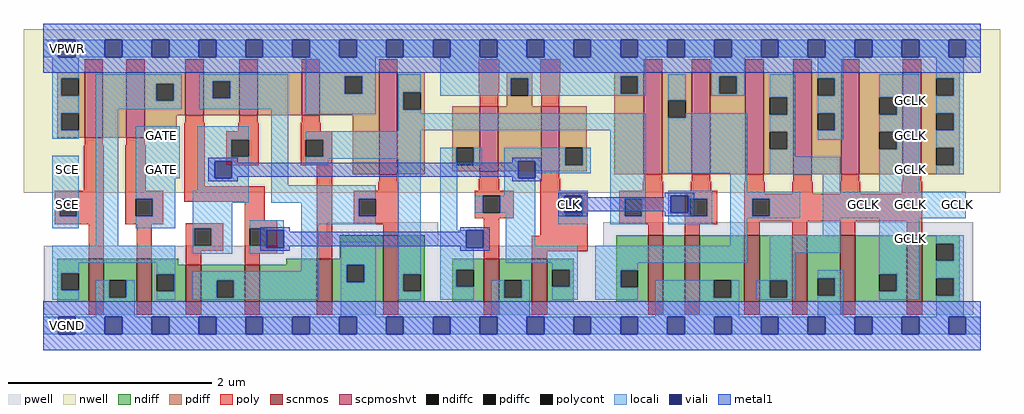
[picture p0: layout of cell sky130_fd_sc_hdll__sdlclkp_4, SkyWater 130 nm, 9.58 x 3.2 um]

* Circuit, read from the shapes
.subckt sky130_fd_sc_hdll__sdlclkp_4 CLK GATE SCE VGND VNB VPB VPWR GCLK
XM1 VGND SCE n1 VNB sky130_fd_pr__nfet_01v8 w=0.42 l=0.15
XM2 n1 GATE VGND VNB sky130_fd_pr__nfet_01v8 w=0.42 l=0.15
XM3 n2 n3 n1 VNB sky130_fd_pr__nfet_01v8 w=0.36 l=0.15
XM4 n4 n5 n2 VNB sky130_fd_pr__nfet_01v8 w=0.36 l=0.15
XM5 VGND n6 n4 VNB sky130_fd_pr__nfet_01v8 w=0.42 l=0.15
XM6 n6 n2 VGND VNB sky130_fd_pr__nfet_01v8 w=0.65 l=0.15
XM7 VGND n3 n5 VNB sky130_fd_pr__nfet_01v8 w=0.42 l=0.15
XM8 n3 CLK VGND VNB sky130_fd_pr__nfet_01v8 w=0.42 l=0.15
XM9 n7 n6 n8 VNB sky130_fd_pr__nfet_01v8 w=0.65 l=0.15
XM10 VGND CLK n7 VNB sky130_fd_pr__nfet_01v8 w=0.65 l=0.15
XM11 GCLK n8 VGND VNB sky130_fd_pr__nfet_01v8 w=0.65 l=0.15 m=4
XM12 n9 SCE VPWR VPB sky130_fd_pr__pfet_01v8_hvt w=0.64 l=0.18
XM13 n1 GATE n9 VPB sky130_fd_pr__pfet_01v8_hvt w=0.64 l=0.18
XM14 n2 n5 n1 VPB sky130_fd_pr__pfet_01v8_hvt w=0.42 l=0.18
XM15 n10 n3 n2 VPB sky130_fd_pr__pfet_01v8_hvt w=0.42 l=0.18
XM16 VPWR n6 n10 VPB sky130_fd_pr__pfet_01v8_hvt w=0.42 l=0.18
XM17 n6 n2 VPWR VPB sky130_fd_pr__pfet_01v8_hvt w=1 l=0.18
XM18 VPWR n3 n5 VPB sky130_fd_pr__pfet_01v8_hvt w=0.64 l=0.18
XM19 n3 CLK VPWR VPB sky130_fd_pr__pfet_01v8_hvt w=0.64 l=0.18
XM20 n8 n6 VPWR VPB sky130_fd_pr__pfet_01v8_hvt w=1 l=0.18
XM21 VPWR CLK n8 VPB sky130_fd_pr__pfet_01v8_hvt w=1 l=0.18
XM22 GCLK n8 VPWR VPB sky130_fd_pr__pfet_01v8_hvt w=1 l=0.18 m=4
.ends

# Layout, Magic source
magic
tech sky130A
magscale 1 2
<< nwell >>
rect -38 261 1878 582
<< pwell >>
rect 556 157 775 203
rect 1099 157 1825 203
rect 1 21 1825 157
rect 30 -17 64 21
<< scnmos >>
rect 89 47 119 131
rect 183 47 213 131
rect 280 47 310 119
rect 395 47 425 119
rect 537 47 567 131
rect 667 47 697 177
rect 865 47 895 131
rect 959 47 989 131
rect 1187 47 1217 177
rect 1259 47 1289 177
rect 1376 47 1406 177
rect 1470 47 1500 177
rect 1564 47 1594 177
rect 1695 47 1725 177
<< scpmoshvt >>
rect 81 369 117 497
rect 163 369 199 497
rect 279 413 315 497
rect 385 413 421 497
rect 507 413 543 497
rect 659 297 695 497
rect 857 303 893 431
rect 977 303 1013 431
rect 1179 297 1215 497
rect 1273 297 1309 497
rect 1378 297 1414 497
rect 1472 297 1508 497
rect 1566 297 1602 497
rect 1687 297 1723 497
<< ndiff >>
rect 27 103 89 131
rect 27 69 35 103
rect 69 69 89 103
rect 27 47 89 69
rect 119 89 183 131
rect 119 55 129 89
rect 163 55 183 89
rect 119 47 183 55
rect 213 119 265 131
rect 582 131 667 177
rect 477 119 537 131
rect 213 101 280 119
rect 213 67 223 101
rect 257 67 280 101
rect 213 47 280 67
rect 310 89 395 119
rect 310 55 340 89
rect 374 55 395 89
rect 310 47 395 55
rect 425 47 537 119
rect 567 119 667 131
rect 567 85 596 119
rect 630 85 667 119
rect 567 47 667 85
rect 697 101 749 177
rect 697 67 707 101
rect 741 67 749 101
rect 697 47 749 67
rect 803 110 865 131
rect 803 76 811 110
rect 845 76 865 110
rect 803 47 865 76
rect 895 89 959 131
rect 895 55 905 89
rect 939 55 959 89
rect 895 47 959 55
rect 989 110 1041 131
rect 989 76 999 110
rect 1033 76 1041 110
rect 989 47 1041 76
rect 1125 109 1187 177
rect 1125 75 1133 109
rect 1167 75 1187 109
rect 1125 47 1187 75
rect 1217 47 1259 177
rect 1289 89 1376 177
rect 1289 55 1316 89
rect 1350 55 1376 89
rect 1289 47 1376 55
rect 1406 89 1470 177
rect 1406 55 1426 89
rect 1460 55 1470 89
rect 1406 47 1470 55
rect 1500 93 1564 177
rect 1500 59 1520 93
rect 1554 59 1564 93
rect 1500 47 1564 59
rect 1594 101 1695 177
rect 1594 67 1641 101
rect 1675 67 1695 101
rect 1594 47 1695 67
rect 1725 161 1799 177
rect 1725 127 1753 161
rect 1787 127 1799 161
rect 1725 93 1799 127
rect 1725 59 1753 93
rect 1787 59 1799 93
rect 1725 47 1799 59
<< pdiff >>
rect 27 485 81 497
rect 27 451 35 485
rect 69 451 81 485
rect 27 417 81 451
rect 27 383 35 417
rect 69 383 81 417
rect 27 369 81 383
rect 117 369 163 497
rect 199 475 279 497
rect 199 441 222 475
rect 256 441 279 475
rect 199 413 279 441
rect 315 480 385 497
rect 315 446 333 480
rect 367 446 385 480
rect 315 413 385 446
rect 421 413 507 497
rect 543 489 659 497
rect 543 455 592 489
rect 626 455 659 489
rect 543 413 659 455
rect 199 369 262 413
rect 607 297 659 413
rect 695 458 749 497
rect 695 424 707 458
rect 741 424 749 458
rect 910 485 960 497
rect 910 451 918 485
rect 952 451 960 485
rect 1121 489 1179 497
rect 910 431 960 451
rect 1121 455 1133 489
rect 1167 455 1179 489
rect 695 297 749 424
rect 803 349 857 431
rect 803 315 811 349
rect 845 315 857 349
rect 803 303 857 315
rect 893 303 977 431
rect 1013 349 1067 431
rect 1013 315 1025 349
rect 1059 315 1067 349
rect 1013 303 1067 315
rect 1121 297 1179 455
rect 1215 442 1273 497
rect 1215 408 1227 442
rect 1261 408 1273 442
rect 1215 297 1273 408
rect 1309 489 1378 497
rect 1309 455 1327 489
rect 1361 455 1378 489
rect 1309 297 1378 455
rect 1414 448 1472 497
rect 1414 414 1426 448
rect 1460 414 1472 448
rect 1414 380 1472 414
rect 1414 346 1426 380
rect 1460 346 1472 380
rect 1414 297 1472 346
rect 1508 485 1566 497
rect 1508 451 1520 485
rect 1554 451 1566 485
rect 1508 417 1566 451
rect 1508 383 1520 417
rect 1554 383 1566 417
rect 1508 297 1566 383
rect 1602 448 1687 497
rect 1602 414 1641 448
rect 1675 414 1687 448
rect 1602 380 1687 414
rect 1602 346 1641 380
rect 1675 346 1687 380
rect 1602 297 1687 346
rect 1723 485 1799 497
rect 1723 451 1753 485
rect 1787 451 1799 485
rect 1723 417 1799 451
rect 1723 383 1753 417
rect 1787 383 1799 417
rect 1723 349 1799 383
rect 1723 315 1753 349
rect 1787 315 1799 349
rect 1723 297 1799 315
<< ndiffc >>
rect 35 69 69 103
rect 129 55 163 89
rect 223 67 257 101
rect 340 55 374 89
rect 596 85 630 119
rect 707 67 741 101
rect 811 76 845 110
rect 905 55 939 89
rect 999 76 1033 110
rect 1133 75 1167 109
rect 1316 55 1350 89
rect 1426 55 1460 89
rect 1520 59 1554 93
rect 1641 67 1675 101
rect 1753 127 1787 161
rect 1753 59 1787 93
<< pdiffc >>
rect 35 451 69 485
rect 35 383 69 417
rect 222 441 256 475
rect 333 446 367 480
rect 592 455 626 489
rect 707 424 741 458
rect 918 451 952 485
rect 1133 455 1167 489
rect 811 315 845 349
rect 1025 315 1059 349
rect 1227 408 1261 442
rect 1327 455 1361 489
rect 1426 414 1460 448
rect 1426 346 1460 380
rect 1520 451 1554 485
rect 1520 383 1554 417
rect 1641 414 1675 448
rect 1641 346 1675 380
rect 1753 451 1787 485
rect 1753 383 1787 417
rect 1753 315 1787 349
<< poly >>
rect 81 497 117 523
rect 163 497 199 523
rect 279 497 315 523
rect 385 497 421 523
rect 507 497 543 523
rect 659 497 695 523
rect 279 398 315 413
rect 385 398 421 413
rect 507 398 543 413
rect 81 354 117 369
rect 163 354 199 369
rect 79 265 119 354
rect 22 249 119 265
rect 22 215 32 249
rect 66 215 119 249
rect 22 199 119 215
rect 161 265 201 354
rect 277 273 317 398
rect 383 381 423 398
rect 359 365 423 381
rect 359 331 369 365
rect 403 331 423 365
rect 359 315 423 331
rect 505 381 545 398
rect 505 365 567 381
rect 505 331 515 365
rect 549 331 567 365
rect 505 315 567 331
rect 161 249 235 265
rect 161 215 181 249
rect 215 215 235 249
rect 277 243 435 273
rect 161 199 235 215
rect 395 207 435 243
rect 89 131 119 199
rect 183 131 213 199
rect 280 191 353 201
rect 280 157 296 191
rect 330 157 353 191
rect 280 147 353 157
rect 395 191 459 207
rect 395 157 405 191
rect 439 157 459 191
rect 280 119 310 147
rect 395 141 459 157
rect 395 119 425 141
rect 537 131 567 315
rect 855 457 895 523
rect 857 431 893 457
rect 975 457 1015 523
rect 1179 497 1215 523
rect 1273 497 1309 523
rect 1378 497 1414 523
rect 1472 497 1508 523
rect 1566 497 1602 523
rect 1687 497 1723 523
rect 977 431 1013 457
rect 659 282 695 297
rect 857 288 893 303
rect 977 288 1013 303
rect 657 265 697 282
rect 855 265 895 288
rect 975 265 1015 288
rect 1179 282 1215 297
rect 1273 282 1309 297
rect 1378 282 1414 297
rect 1472 282 1508 297
rect 1566 282 1602 297
rect 1687 282 1723 297
rect 1177 265 1217 282
rect 1271 265 1311 282
rect 609 249 697 265
rect 609 215 619 249
rect 653 215 697 249
rect 609 199 697 215
rect 847 255 923 265
rect 847 221 863 255
rect 897 221 923 255
rect 847 211 923 221
rect 975 249 1069 265
rect 975 215 1025 249
rect 1059 215 1069 249
rect 667 177 697 199
rect 865 131 895 211
rect 975 176 1069 215
rect 1131 249 1217 265
rect 1131 215 1141 249
rect 1175 215 1217 249
rect 1131 199 1217 215
rect 1187 177 1217 199
rect 1259 249 1323 265
rect 1259 215 1269 249
rect 1303 215 1323 249
rect 1259 199 1323 215
rect 1376 259 1416 282
rect 1470 259 1510 282
rect 1564 259 1604 282
rect 1685 259 1725 282
rect 1376 249 1725 259
rect 1376 215 1392 249
rect 1426 215 1725 249
rect 1376 205 1725 215
rect 1259 177 1289 199
rect 1376 177 1406 205
rect 1470 177 1500 205
rect 1564 177 1594 205
rect 1695 177 1725 205
rect 959 146 1069 176
rect 959 131 989 146
rect 89 21 119 47
rect 183 21 213 47
rect 280 21 310 47
rect 395 21 425 47
rect 537 21 567 47
rect 667 21 697 47
rect 865 21 895 47
rect 959 21 989 47
rect 1187 21 1217 47
rect 1259 21 1289 47
rect 1376 21 1406 47
rect 1470 21 1500 47
rect 1564 21 1594 47
rect 1695 21 1725 47
<< polycont >>
rect 32 215 66 249
rect 369 331 403 365
rect 515 331 549 365
rect 181 215 215 249
rect 296 157 330 191
rect 405 157 439 191
rect 619 215 653 249
rect 863 221 897 255
rect 1025 215 1059 249
rect 1141 215 1175 249
rect 1269 215 1303 249
rect 1392 215 1426 249
<< locali >>
rect 0 527 29 561
rect 63 527 121 561
rect 155 527 213 561
rect 247 527 305 561
rect 339 527 397 561
rect 431 527 489 561
rect 523 527 581 561
rect 615 527 673 561
rect 707 527 765 561
rect 799 527 857 561
rect 891 527 949 561
rect 983 527 1041 561
rect 1075 527 1133 561
rect 1167 527 1225 561
rect 1259 527 1317 561
rect 1351 527 1409 561
rect 1443 527 1501 561
rect 1535 527 1593 561
rect 1627 527 1685 561
rect 1719 527 1777 561
rect 1811 527 1840 561
rect 17 485 69 527
rect 17 451 35 485
rect 17 417 69 451
rect 17 383 35 417
rect 17 367 69 383
rect 103 475 272 493
rect 103 441 222 475
rect 256 441 272 475
rect 103 425 272 441
rect 306 480 481 493
rect 306 446 333 480
rect 367 446 481 480
rect 306 425 481 446
rect 17 249 69 333
rect 17 215 32 249
rect 66 215 69 249
rect 17 191 69 215
rect 103 157 147 425
rect 181 289 268 391
rect 302 365 403 391
rect 302 331 369 365
rect 302 323 403 331
rect 302 289 336 323
rect 370 289 403 323
rect 181 249 259 289
rect 302 265 403 289
rect 215 215 259 249
rect 181 191 259 215
rect 293 241 403 265
rect 447 275 481 425
rect 515 489 653 527
rect 515 455 592 489
rect 626 455 653 489
rect 515 415 653 455
rect 697 458 741 493
rect 697 424 707 458
rect 779 489 1183 527
rect 779 485 1133 489
rect 779 451 918 485
rect 952 455 1133 485
rect 1167 455 1183 489
rect 952 451 1183 455
rect 697 417 741 424
rect 1227 442 1261 493
rect 1311 489 1377 527
rect 1311 455 1327 489
rect 1361 455 1377 489
rect 1311 451 1377 455
rect 697 383 1183 417
rect 697 381 741 383
rect 515 365 741 381
rect 549 331 741 365
rect 515 327 741 331
rect 515 315 559 327
rect 447 249 653 275
rect 447 241 619 249
rect 293 191 371 241
rect 506 215 619 241
rect 293 157 296 191
rect 330 157 371 191
rect 17 123 259 157
rect 293 141 371 157
rect 405 191 472 207
rect 439 187 472 191
rect 405 153 438 157
rect 405 141 472 153
rect 506 199 653 215
rect 17 103 69 123
rect 17 69 35 103
rect 223 101 259 123
rect 506 107 540 199
rect 17 51 69 69
rect 103 55 129 89
rect 163 55 179 89
rect 103 17 179 55
rect 257 67 259 101
rect 223 51 259 67
rect 293 89 540 107
rect 293 55 340 89
rect 374 55 540 89
rect 293 51 540 55
rect 584 119 653 165
rect 584 85 596 119
rect 630 85 653 119
rect 584 17 653 85
rect 697 101 741 327
rect 697 67 707 101
rect 697 51 741 67
rect 779 315 811 349
rect 845 315 861 349
rect 905 323 1025 349
rect 779 187 813 315
rect 905 289 932 323
rect 966 315 1025 323
rect 1059 315 1075 349
rect 966 299 1075 315
rect 905 255 966 289
rect 847 221 863 255
rect 897 221 966 255
rect 779 153 830 187
rect 908 157 966 221
rect 1011 255 1069 265
rect 1011 221 1023 255
rect 1057 249 1069 255
rect 1011 215 1025 221
rect 1059 215 1069 249
rect 1011 199 1069 215
rect 1113 249 1183 383
rect 1426 448 1476 493
rect 1261 408 1382 417
rect 1227 299 1382 408
rect 1113 215 1141 249
rect 1175 215 1183 249
rect 1113 199 1183 215
rect 1227 255 1313 265
rect 1227 221 1232 255
rect 1266 249 1313 255
rect 1266 221 1269 249
rect 1227 215 1269 221
rect 1303 215 1313 249
rect 1227 199 1313 215
rect 1348 263 1382 299
rect 1460 414 1476 448
rect 1426 380 1476 414
rect 1460 346 1476 380
rect 1520 485 1570 527
rect 1554 451 1570 485
rect 1520 417 1570 451
rect 1554 383 1570 417
rect 1520 365 1570 383
rect 1641 448 1719 493
rect 1675 414 1719 448
rect 1641 380 1719 414
rect 1426 331 1476 346
rect 1675 346 1719 380
rect 1426 297 1564 331
rect 1530 263 1564 297
rect 1641 263 1719 346
rect 1753 485 1807 527
rect 1787 451 1807 485
rect 1753 417 1807 451
rect 1787 383 1807 417
rect 1753 349 1807 383
rect 1787 315 1807 349
rect 1753 297 1807 315
rect 1348 249 1486 263
rect 1348 215 1392 249
rect 1426 215 1486 249
rect 1348 211 1486 215
rect 1530 211 1811 263
rect 1348 157 1382 211
rect 1530 177 1564 211
rect 779 110 845 153
rect 908 123 1049 157
rect 779 76 811 110
rect 999 110 1049 123
rect 779 51 845 76
rect 879 55 905 89
rect 939 55 955 89
rect 879 17 955 55
rect 1033 76 1049 110
rect 999 51 1049 76
rect 1083 123 1382 157
rect 1426 143 1564 177
rect 1083 109 1167 123
rect 1083 75 1133 109
rect 1426 89 1476 143
rect 1083 51 1167 75
rect 1201 55 1316 89
rect 1350 55 1366 89
rect 1201 17 1366 55
rect 1400 55 1426 89
rect 1460 55 1476 89
rect 1400 51 1476 55
rect 1520 93 1570 109
rect 1554 59 1570 93
rect 1520 17 1570 59
rect 1641 101 1719 211
rect 1675 67 1719 101
rect 1641 51 1719 67
rect 1753 161 1807 177
rect 1787 127 1807 161
rect 1753 93 1807 127
rect 1787 59 1807 93
rect 1753 17 1807 59
rect 0 -17 29 17
rect 63 -17 121 17
rect 155 -17 213 17
rect 247 -17 305 17
rect 339 -17 397 17
rect 431 -17 489 17
rect 523 -17 581 17
rect 615 -17 673 17
rect 707 -17 765 17
rect 799 -17 857 17
rect 891 -17 949 17
rect 983 -17 1041 17
rect 1075 -17 1133 17
rect 1167 -17 1225 17
rect 1259 -17 1317 17
rect 1351 -17 1409 17
rect 1443 -17 1501 17
rect 1535 -17 1593 17
rect 1627 -17 1685 17
rect 1719 -17 1777 17
rect 1811 -17 1840 17
<< viali >>
rect 29 527 63 561
rect 121 527 155 561
rect 213 527 247 561
rect 305 527 339 561
rect 397 527 431 561
rect 489 527 523 561
rect 581 527 615 561
rect 673 527 707 561
rect 765 527 799 561
rect 857 527 891 561
rect 949 527 983 561
rect 1041 527 1075 561
rect 1133 527 1167 561
rect 1225 527 1259 561
rect 1317 527 1351 561
rect 1409 527 1443 561
rect 1501 527 1535 561
rect 1593 527 1627 561
rect 1685 527 1719 561
rect 1777 527 1811 561
rect 336 289 370 323
rect 438 157 439 187
rect 439 157 472 187
rect 438 153 472 157
rect 932 289 966 323
rect 830 153 864 187
rect 1023 249 1057 255
rect 1023 221 1025 249
rect 1025 221 1057 249
rect 1232 221 1266 255
rect 29 -17 63 17
rect 121 -17 155 17
rect 213 -17 247 17
rect 305 -17 339 17
rect 397 -17 431 17
rect 489 -17 523 17
rect 581 -17 615 17
rect 673 -17 707 17
rect 765 -17 799 17
rect 857 -17 891 17
rect 949 -17 983 17
rect 1041 -17 1075 17
rect 1133 -17 1167 17
rect 1225 -17 1259 17
rect 1317 -17 1351 17
rect 1409 -17 1443 17
rect 1501 -17 1535 17
rect 1593 -17 1627 17
rect 1685 -17 1719 17
rect 1777 -17 1811 17
<< metal1 >>
rect 0 561 1840 592
rect 0 527 29 561
rect 63 527 121 561
rect 155 527 213 561
rect 247 527 305 561
rect 339 527 397 561
rect 431 527 489 561
rect 523 527 581 561
rect 615 527 673 561
rect 707 527 765 561
rect 799 527 857 561
rect 891 527 949 561
rect 983 527 1041 561
rect 1075 527 1133 561
rect 1167 527 1225 561
rect 1259 527 1317 561
rect 1351 527 1409 561
rect 1443 527 1501 561
rect 1535 527 1593 561
rect 1627 527 1685 561
rect 1719 527 1777 561
rect 1811 527 1840 561
rect 0 496 1840 527
rect 324 323 382 329
rect 324 289 336 323
rect 370 320 382 323
rect 920 323 978 329
rect 920 320 932 323
rect 370 292 932 320
rect 370 289 382 292
rect 324 283 382 289
rect 920 289 932 292
rect 966 289 978 323
rect 920 283 978 289
rect 1011 255 1069 261
rect 1011 221 1023 255
rect 1057 252 1069 255
rect 1220 255 1278 261
rect 1220 252 1232 255
rect 1057 224 1232 252
rect 1057 221 1069 224
rect 1011 215 1069 221
rect 1220 221 1232 224
rect 1266 221 1278 255
rect 1220 215 1278 221
rect 426 187 484 193
rect 426 153 438 187
rect 472 184 484 187
rect 818 187 876 193
rect 818 184 830 187
rect 472 156 830 184
rect 472 153 484 156
rect 426 147 484 153
rect 818 153 830 156
rect 864 153 876 187
rect 818 147 876 153
rect 0 17 1840 48
rect 0 -17 29 17
rect 63 -17 121 17
rect 155 -17 213 17
rect 247 -17 305 17
rect 339 -17 397 17
rect 431 -17 489 17
rect 523 -17 581 17
rect 615 -17 673 17
rect 707 -17 765 17
rect 799 -17 857 17
rect 891 -17 949 17
rect 983 -17 1041 17
rect 1075 -17 1133 17
rect 1167 -17 1225 17
rect 1259 -17 1317 17
rect 1351 -17 1409 17
rect 1443 -17 1501 17
rect 1535 -17 1593 17
rect 1627 -17 1685 17
rect 1719 -17 1777 17
rect 1811 -17 1840 17
rect 0 -48 1840 -17
<< labels >>
flabel locali s 30 289 64 323 0 FreeSans 200 0 0 0 SCE
port 3 nsew signal input
flabel locali s 214 357 248 391 0 FreeSans 200 0 0 0 GATE
port 2 nsew signal input
flabel locali s 214 289 248 323 0 FreeSans 200 0 0 0 GATE
port 2 nsew signal input
flabel locali s 30 221 64 255 0 FreeSans 200 0 0 0 SCE
port 3 nsew signal input
flabel locali s 1685 221 1719 255 0 FreeSans 200 0 0 0 GCLK
port 8 nsew signal output
flabel locali s 1685 425 1719 459 0 FreeSans 200 0 0 0 GCLK
port 8 nsew signal output
flabel locali s 1685 357 1719 391 0 FreeSans 200 0 0 0 GCLK
port 8 nsew signal output
flabel locali s 1685 289 1719 323 0 FreeSans 200 0 0 0 GCLK
port 8 nsew signal output
flabel locali s 1593 221 1627 255 0 FreeSans 200 0 0 0 GCLK
port 8 nsew signal output
flabel locali s 1777 221 1811 255 0 FreeSans 200 0 0 0 GCLK
port 8 nsew signal output
flabel locali s 1685 153 1719 187 0 FreeSans 200 0 0 0 GCLK
port 8 nsew signal output
flabel metal1 s 30 -17 64 17 0 FreeSans 200 0 0 0 VGND
port 4 nsew ground bidirectional
flabel metal1 s 30 527 64 561 0 FreeSans 200 0 0 0 VPWR
port 7 nsew power bidirectional
flabel metal1 s 1015 221 1049 255 0 FreeSans 200 0 0 0 CLK
port 1 nsew signal input
flabel nwell s 30 527 64 561 0 FreeSans 200 0 0 0 VPB
port 6 nsew power bidirectional
flabel pwell s 30 -17 64 17 0 FreeSans 200 0 0 0 VNB
port 5 nsew ground bidirectional
rlabel comment s 0 0 0 0 4 sdlclkp_4
<< properties >>
string LEFsite unithd
string LEFclass CORE
string FIXED_BBOX 0 0 1840 544
string GDS_FILE $PDKPATH/libs.ref/sky130_fd_sc_hdll/gds/sky130_fd_sc_hdll.gds
string LEFsymmetry X Y R90
string GDS_END 192996
string GDS_START 179220
string LEFproperties maskLayoutSubType "abstract" prCellType "standard" originalViewName "layout"
<< end >>
